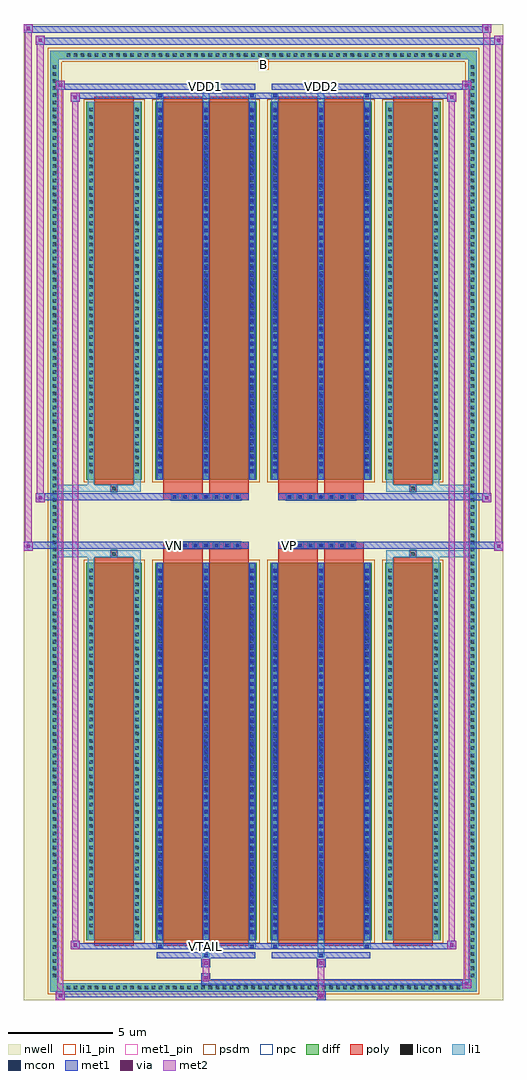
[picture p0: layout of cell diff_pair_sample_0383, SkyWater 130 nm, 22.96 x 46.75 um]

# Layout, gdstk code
import gdstk
lib = gdstk.Library(unit=1e-6, precision=5e-09)
def R(c, l, rs):  # rectangles x0, y0, x1, y1
    for r in rs: c.add(gdstk.rectangle(r[:2], r[2:], *l))
def A(c, l, x, y, w, h, nx, ny, dx, dy):  # array of equal rectangles
    R(c, l, [(x+i*dx, y+j*dy, x+i*dx+w, y+j*dy+h) for i in range(nx) for j in range(ny)])
def P(c, l, *ps):  # polygons
    for p in ps: c.add(gdstk.Polygon(p, *l))
nwell = (64, 20)
diff = (65, 20)
poly = (66, 20)
licon = (66, 44)
li1_pin = (67, 16)
li1 = (67, 20)
mcon = (67, 44)
met1_pin = (68, 16)
met1 = (68, 20)
via = (68, 44)
met2 = (69, 20)
psdm = (94, 20)
npc = (95, 20)

diff_pair_sample_0383 = lib.new_cell('diff_pair_sample_0383')
R(diff_pair_sample_0383, nwell, [(-11.48,-22.94,11.48,23.81), (-8.8,-21.13,-0.01,-0.795), (0.01,-21.13,8.8,-0.795), (-8.8,0.795,-0.01,21.13), (0.01,0.795,8.8,21.13)])
A(diff_pair_sample_0383, diff, -9.555, -22.54, 0.41, 0.41, 56, 2, 0.34, 44.67)
A(diff_pair_sample_0383, diff, -10.21, -21.965, 0.41, 0.41, 1, 129, 0, 0.34)
A(diff_pair_sample_0383, diff, 9.8, -21.965, 0.41, 0.41, 1, 129, 0, 0.34)
R(diff_pair_sample_0383, diff, [(-9.555,-22.54,9.555,-22.13), (-10.21,-21.965,-9.8,21.965), (9.8,-21.965,10.21,21.965), (-8.49,-20.085,-5.83,-1.985), (-5.19,-20.085,-0.32,-1.985), (0.32,-20.085,5.19,-1.985), (5.83,-20.085,8.49,-1.985), (-8.49,1.985,-5.83,20.085), (-5.19,1.985,-0.32,20.085), (0.32,1.985,5.19,20.085), (5.83,1.985,8.49,20.085), (-9.555,22.13,9.555,22.54)])
P(diff_pair_sample_0383, diff, [(10.21,22.54),(-10.21,22.54),(-10.21,-22.13),(-9.8,-22.13),(-9.8,22.13),(9.8,22.13),(9.8,-22.13),(-9.8,-22.13),(-10.21,-22.13),(-10.21,-22.54),(10.21,-22.54)])
A(diff_pair_sample_0383, poly, -4.42, -1.325, 0.33, 0.33, 7, 2, 0.5, 2.32)
A(diff_pair_sample_0383, poly, 1.09, -1.325, 0.33, 0.33, 7, 2, 0.5, 2.32)
R(diff_pair_sample_0383, poly, [(-8.1,-20.335,-6.22,-1.735), (-4.8,-20.335,-2.92,-1.735), (-2.59,-20.335,-0.71,-1.735), (0.71,-20.335,2.59,-1.735), (2.92,-20.335,4.8,-1.735), (6.22,-20.335,8.1,-1.735), (-7.325,-1.735,-6.995,-1.405), (-7.325,-1.735,-6.995,-1.405), (-4.8,-1.735,-2.92,-1.325), (-2.59,-1.735,-0.71,-1.325), (0.71,-1.735,2.59,-1.325), (2.92,-1.735,4.8,-1.325), (6.995,-1.735,7.325,-1.405), (6.995,-1.735,7.325,-1.405), (-4.8,-1.325,-0.71,-0.995), (0.71,-1.325,4.8,-0.995), (-4.8,0.995,-0.71,1.325), (0.71,0.995,4.8,1.325), (-4.8,1.325,-2.92,1.735), (-2.59,1.325,-0.71,1.735), (0.71,1.325,2.59,1.735), (2.92,1.325,4.8,1.735), (-7.325,1.405,-6.995,1.735), (-7.325,1.405,-6.995,1.735), (6.995,1.405,7.325,1.735), (6.995,1.405,7.325,1.735), (-8.1,1.735,-6.22,20.335), (-4.8,1.735,-2.92,20.335), (-2.59,1.735,-0.71,20.335), (0.71,1.735,2.59,20.335), (2.92,1.735,4.8,20.335), (6.22,1.735,8.1,20.335)])
A(diff_pair_sample_0383, licon, -9.435, -22.42, 0.17, 0.17, 56, 2, 0.34, 44.67)
A(diff_pair_sample_0383, licon, -10.09, -21.845, 0.17, 0.17, 1, 129, 0, 0.34)
A(diff_pair_sample_0383, licon, 9.92, -21.845, 0.17, 0.17, 1, 129, 0, 0.34)
A(diff_pair_sample_0383, licon, -8.35, -19.79, 0.17, 0.17, 1, 52, 0, 0.34)
A(diff_pair_sample_0383, licon, -6.14, -19.79, 0.17, 0.17, 1, 52, 0, 0.34)
A(diff_pair_sample_0383, licon, -5.05, -19.79, 0.17, 0.17, 3, 52, 2.21, 0.34)
A(diff_pair_sample_0383, licon, 0.46, -19.79, 0.17, 0.17, 3, 52, 2.21, 0.34)
A(diff_pair_sample_0383, licon, 5.97, -19.79, 0.17, 0.17, 1, 52, 0, 0.34)
A(diff_pair_sample_0383, licon, 8.18, -19.79, 0.17, 0.17, 1, 52, 0, 0.34)
A(diff_pair_sample_0383, licon, -4.34, -1.245, 0.17, 0.17, 7, 2, 0.5, 2.32)
A(diff_pair_sample_0383, licon, 1.17, -1.245, 0.17, 0.17, 7, 2, 0.5, 2.32)
A(diff_pair_sample_0383, licon, -8.35, 2.28, 0.17, 0.17, 1, 52, 0, 0.34)
A(diff_pair_sample_0383, licon, -6.14, 2.28, 0.17, 0.17, 1, 52, 0, 0.34)
A(diff_pair_sample_0383, licon, -5.05, 2.28, 0.17, 0.17, 3, 52, 2.21, 0.34)
A(diff_pair_sample_0383, licon, 0.46, 2.28, 0.17, 0.17, 3, 52, 2.21, 0.34)
A(diff_pair_sample_0383, licon, 5.97, 2.28, 0.17, 0.17, 1, 52, 0, 0.34)
A(diff_pair_sample_0383, licon, 8.18, 2.28, 0.17, 0.17, 1, 52, 0, 0.34)
R(diff_pair_sample_0383, licon, [(-7.245,-1.655,-7.075,-1.485), (7.075,-1.655,7.245,-1.485), (-7.245,1.485,-7.075,1.655), (7.075,1.485,7.245,1.655)])
R(diff_pair_sample_0383, li1_pin, [(-0.25,21.63,0.25,22.13)])
A(diff_pair_sample_0383, li1, -9.515, -22.5, 0.33, 0.33, 56, 2, 0.34, 44.67)
A(diff_pair_sample_0383, li1, -10.17, -21.925, 0.33, 0.33, 1, 129, 0, 0.34)
A(diff_pair_sample_0383, li1, 9.84, -21.925, 0.33, 0.33, 1, 129, 0, 0.34)
A(diff_pair_sample_0383, li1, -5.13, -20.085, 0.33, 18.1, 3, 2, 2.21, 22.07)
A(diff_pair_sample_0383, li1, 0.38, -20.085, 0.33, 18.1, 3, 2, 2.21, 22.07)
A(diff_pair_sample_0383, li1, -8.43, -19.87, 0.33, 0.33, 1, 52, 0, 0.34)
A(diff_pair_sample_0383, li1, -6.22, -19.87, 0.33, 0.33, 1, 52, 0, 0.34)
A(diff_pair_sample_0383, li1, -5.13, -19.87, 0.33, 0.33, 3, 52, 2.21, 0.34)
A(diff_pair_sample_0383, li1, 0.38, -19.87, 0.33, 0.33, 3, 52, 2.21, 0.34)
A(diff_pair_sample_0383, li1, 5.89, -19.87, 0.33, 0.33, 1, 52, 0, 0.34)
A(diff_pair_sample_0383, li1, 8.1, -19.87, 0.33, 0.33, 1, 52, 0, 0.34)
A(diff_pair_sample_0383, li1, -5.05, -19.76, 0.17, 0.17, 3, 49, 2.21, 0.36)
A(diff_pair_sample_0383, li1, -5.05, -19.76, 0.17, 17.45, 3, 2, 2.21, 22.07)
A(diff_pair_sample_0383, li1, 0.46, -19.76, 0.17, 0.17, 3, 49, 2.21, 0.36)
A(diff_pair_sample_0383, li1, 0.46, -19.76, 0.17, 17.45, 3, 2, 2.21, 22.07)
A(diff_pair_sample_0383, li1, -4.42, -1.325, 0.33, 0.33, 7, 2, 0.5, 2.32)
A(diff_pair_sample_0383, li1, 1.09, -1.325, 0.33, 0.33, 7, 2, 0.5, 2.32)
A(diff_pair_sample_0383, li1, -8.43, 2.2, 0.33, 0.33, 1, 52, 0, 0.34)
A(diff_pair_sample_0383, li1, -6.22, 2.2, 0.33, 0.33, 1, 52, 0, 0.34)
A(diff_pair_sample_0383, li1, -5.13, 2.2, 0.33, 0.33, 3, 52, 2.21, 0.34)
A(diff_pair_sample_0383, li1, 0.38, 2.2, 0.33, 0.33, 3, 52, 2.21, 0.34)
A(diff_pair_sample_0383, li1, 5.89, 2.2, 0.33, 0.33, 1, 52, 0, 0.34)
A(diff_pair_sample_0383, li1, 8.1, 2.2, 0.33, 0.33, 1, 52, 0, 0.34)
A(diff_pair_sample_0383, li1, -5.05, 2.31, 0.17, 0.17, 3, 49, 2.21, 0.36)
A(diff_pair_sample_0383, li1, 0.46, 2.31, 0.17, 0.17, 3, 49, 2.21, 0.36)
R(diff_pair_sample_0383, li1, [(-10.21,-22.54,-9.8,-22.13), (-10.21,-22.54,-9.8,-22.13), (-9.8,-22.54,9.8,-22.13), (9.8,-22.54,10.21,-22.13), (9.8,-22.54,10.21,-22.13), (-10.21,-22.13,-9.8,22.13), (9.8,-22.13,10.21,22.13), (-2.92,-20.89,-2.59,-20.085), (-2.84,-20.89,-2.67,-20.72), (2.59,-20.89,2.92,-20.085), (2.67,-20.89,2.84,-20.72), (-5.13,-20.46,-4.8,-20.085), (-5.05,-20.46,-4.88,-20.29), (-0.71,-20.46,-0.38,-20.085), (-0.63,-20.46,-0.46,-20.29), (0.38,-20.46,0.71,-20.085), (0.46,-20.46,0.63,-20.29), (4.8,-20.46,5.13,-20.085), (4.88,-20.46,5.05,-20.29), (-8.43,-20.085,-8.1,-1.985), (-6.22,-20.085,-5.89,-1.985), (5.89,-20.085,6.22,-1.985), (8.1,-20.085,8.43,-1.985), (-8.43,-1.985,-8.1,-1.405), (-6.22,-1.985,-5.89,-1.405), (5.89,-1.985,6.22,-1.405), (8.1,-1.985,8.43,-1.405), (-10.21,-1.735,-7.325,-1.405), (-8.43,-1.735,-7.325,-1.405), (-7.325,-1.735,-6.995,-1.405), (-6.995,-1.735,-5.89,-1.405), (5.89,-1.735,6.995,-1.405), (6.995,-1.735,7.325,-1.405), (6.995,-1.735,10.21,-1.405), (7.325,-1.735,8.43,-1.405), (-10.21,1.405,-7.325,1.735), (-8.43,1.405,-7.325,1.735), (-8.43,1.405,-8.1,1.985), (-7.325,1.405,-6.995,1.735), (-6.995,1.405,-5.89,1.735), (-6.22,1.405,-5.89,1.985), (5.89,1.405,6.995,1.735), (5.89,1.405,6.22,1.985), (6.995,1.405,7.325,1.735), (6.995,1.405,10.21,1.735), (7.325,1.405,8.43,1.735), (8.1,1.405,8.43,1.985), (-8.43,1.985,-8.1,20.085), (-6.22,1.985,-5.89,20.085), (5.89,1.985,6.22,20.085), (8.1,1.985,8.43,20.085), (-5.13,20.085,-4.8,20.46), (-2.92,20.085,-2.59,20.89), (-0.71,20.085,-0.38,20.46), (0.38,20.085,0.71,20.46), (2.59,20.085,2.92,20.89), (4.8,20.085,5.13,20.46), (-5.05,20.29,-4.88,20.46), (-0.63,20.29,-0.46,20.46), (0.46,20.29,0.63,20.46), (4.88,20.29,5.05,20.46), (-2.84,20.72,-2.67,20.89), (2.67,20.72,2.84,20.89), (-10.21,22.13,-9.8,22.54), (-10.21,22.13,-9.8,22.54), (-9.8,22.13,9.8,22.54), (9.8,22.13,10.21,22.54), (9.8,22.13,10.21,22.54)])
A(diff_pair_sample_0383, mcon, -5.05, -19.76, 0.17, 0.17, 3, 49, 2.21, 0.36)
A(diff_pair_sample_0383, mcon, 0.46, -19.76, 0.17, 0.17, 3, 49, 2.21, 0.36)
A(diff_pair_sample_0383, mcon, -4.34, -1.245, 0.17, 0.17, 7, 2, 0.5, 2.32)
A(diff_pair_sample_0383, mcon, 1.17, -1.245, 0.17, 0.17, 7, 2, 0.5, 2.32)
A(diff_pair_sample_0383, mcon, -5.05, 2.31, 0.17, 0.17, 3, 49, 2.21, 0.36)
A(diff_pair_sample_0383, mcon, 0.46, 2.31, 0.17, 0.17, 3, 49, 2.21, 0.36)
R(diff_pair_sample_0383, mcon, [(-2.84,-20.89,-2.67,-20.72), (2.67,-20.89,2.84,-20.72), (-5.05,-20.46,-4.88,-20.29), (-0.63,-20.46,-0.46,-20.29), (0.46,-20.46,0.63,-20.29), (4.88,-20.46,5.05,-20.29), (-5.05,20.29,-4.88,20.46), (-0.63,20.29,-0.46,20.46), (0.46,20.29,0.63,20.46), (4.88,20.29,5.05,20.46), (-2.84,20.72,-2.67,20.89), (2.67,20.72,2.84,20.89)])
R(diff_pair_sample_0383, met1_pin, [(-2.89,-20.5,-2.62,-20.23), (-4.39,-1.285,-4.12,-1.015), (1.12,-1.285,1.39,-1.015), (-2.89,20.68,-2.62,20.95), (2.62,20.68,2.89,20.95)])
A(diff_pair_sample_0383, met1, -5.11, -20.085, 0.29, 18.1, 3, 2, 2.21, 22.07)
A(diff_pair_sample_0383, met1, 0.4, -20.085, 0.29, 18.1, 3, 2, 2.21, 22.07)
A(diff_pair_sample_0383, met1, -5.11, -19.82, 0.29, 0.29, 3, 49, 2.21, 0.36)
A(diff_pair_sample_0383, met1, 0.4, -19.82, 0.29, 0.29, 3, 49, 2.21, 0.36)
A(diff_pair_sample_0383, met1, -4.4, -1.305, 0.29, 0.29, 7, 2, 0.5, 2.32)
A(diff_pair_sample_0383, met1, 1.11, -1.305, 0.29, 0.29, 7, 2, 0.5, 2.32)
A(diff_pair_sample_0383, met1, -5.11, 2.25, 0.29, 0.29, 3, 49, 2.21, 0.36)
A(diff_pair_sample_0383, met1, 0.4, 2.25, 0.29, 0.29, 3, 49, 2.21, 0.36)
R(diff_pair_sample_0383, met1, [(-9.94,-22.94,-9.51,-22.51), (2.54,-22.94,2.97,-22.51), (-9.94,-22.8,2.97,-22.51), (9.51,-22.37,9.94,-21.94), (-2.97,-22.23,9.94,-21.94), (-2.97,-22.09,-2.54,-21.66), (-2.97,-21.38,-2.54,-20.95), (2.54,-21.38,2.97,-20.95), (-5.11,-20.95,-0.4,-20.66), (-2.9,-20.95,-2.61,-20.66), (0.4,-20.95,5.11,-20.66), (2.61,-20.95,2.9,-20.66), (-9.23,-20.52,-8.8,-20.09), (-9.23,-20.52,-5.11,-20.23), (-5.11,-20.52,-4.82,-20.23), (-5.11,-20.52,-0.4,-20.23), (-0.69,-20.52,-0.4,-20.23), (-0.4,-20.52,0.4,-20.23), (0.4,-20.52,0.69,-20.23), (0.4,-20.52,5.11,-20.23), (4.82,-20.52,5.11,-20.23), (5.11,-20.52,9.23,-20.23), (8.8,-20.52,9.23,-20.09), (-11.48,-1.425,-11.05,-0.995), (11.05,-1.425,11.48,-0.995), (-11.48,-1.325,-0.71,-0.995), (-4.8,-1.325,-0.71,-0.995), (0.71,-1.325,4.8,-0.995), (0.71,-1.325,11.48,-0.995), (-10.91,0.895,-10.48,1.325), (10.48,0.895,10.91,1.325), (-10.91,0.995,-4.8,1.325), (-4.8,0.995,-0.71,1.325), (0.71,0.995,4.8,1.325), (4.8,0.995,10.91,1.325), (-9.23,20.09,-8.8,20.52), (8.8,20.09,9.23,20.52), (-9.23,20.23,-5.11,20.52), (-5.11,20.23,-4.82,20.52), (-5.11,20.23,-0.4,20.52), (-0.69,20.23,-0.4,20.52), (-0.4,20.23,0.4,20.52), (0.4,20.23,0.69,20.52), (0.4,20.23,5.11,20.52), (4.82,20.23,5.11,20.52), (5.11,20.23,9.23,20.52), (-9.94,20.66,-9.51,21.09), (-9.94,20.66,-5.11,20.95), (-5.11,20.66,-0.4,20.95), (-2.9,20.66,-2.61,20.95), (0.4,20.66,5.11,20.95), (2.61,20.66,2.9,20.95), (5.11,20.66,9.94,20.95), (9.51,20.66,9.94,21.09), (-10.91,22.81,-10.48,23.24), (-10.91,22.81,-8.8,23.14), (-8.8,22.81,8.8,23.14), (8.8,22.81,11.48,23.14), (11.05,22.81,11.48,23.24), (-11.48,23.38,-11.05,23.81), (-11.48,23.38,-8.8,23.71), (-8.8,23.38,8.8,23.71), (8.8,23.38,10.91,23.71), (10.48,23.38,10.91,23.81)])
R(diff_pair_sample_0383, via, [(-9.8,-22.8,-9.65,-22.65), (2.68,-22.8,2.83,-22.65), (9.65,-22.23,9.8,-22.08), (-2.83,-21.95,-2.68,-21.8), (-2.83,-21.24,-2.68,-21.09), (2.68,-21.24,2.83,-21.09), (-9.09,-20.38,-8.94,-20.23), (8.94,-20.38,9.09,-20.23), (-11.34,-1.285,-11.19,-1.135), (11.19,-1.285,11.34,-1.135), (-10.77,1.035,-10.62,1.185), (10.62,1.035,10.77,1.185), (-9.09,20.23,-8.94,20.38), (8.94,20.23,9.09,20.38), (-9.8,20.8,-9.65,20.95), (9.65,20.8,9.8,20.95), (-10.77,22.95,-10.62,23.1), (11.19,22.95,11.34,23.1), (-11.34,23.52,-11.19,23.67), (10.62,23.52,10.77,23.67)])
R(diff_pair_sample_0383, met2, [(-9.94,-22.94,-9.51,-22.51), (-9.87,-22.94,-9.58,21.09), (-9.58,-22.94,-9.51,-22.51), (-9.89,-22.89,-9.56,-22.56), (2.59,-22.89,2.92,-22.56), (2.59,-22.56,2.92,-21.33), (9.51,-22.37,9.94,-21.94), (9.58,-22.37,9.87,21.09), (9.87,-22.37,9.94,-21.94), (9.56,-22.32,9.89,-21.99), (-2.92,-22.04,-2.59,-21.71), (-2.92,-21.71,-2.59,-21.33), (-2.92,-21.33,-2.59,-21), (2.59,-21.33,2.92,-21), (-9.23,-20.52,-8.8,-20.09), (-9.16,-20.52,-8.87,20.52), (-8.87,-20.52,-8.8,-20.09), (8.8,-20.52,9.23,-20.09), (8.87,-20.52,9.16,20.52), (9.16,-20.52,9.23,-20.09), (-9.18,-20.47,-8.85,-20.14), (8.85,-20.47,9.18,-20.14), (-11.48,-1.425,-11.05,-0.995), (-11.43,-1.425,-11.1,23.81), (-11.1,-1.425,-11.05,-0.995), (11.05,-1.425,11.48,-0.995), (11.1,-1.425,11.43,23.24), (11.43,-1.425,11.48,-0.995), (-11.43,-1.375,-11.1,-1.045), (11.1,-1.375,11.43,-1.045), (-10.91,0.895,-10.48,1.325), (-10.86,0.895,-10.53,23.24), (-10.53,0.895,-10.48,1.325), (10.48,0.895,10.91,1.325), (10.53,0.895,10.86,23.81), (10.86,0.895,10.91,1.325), (-10.86,0.945,-10.53,1.275), (10.53,0.945,10.86,1.275), (-9.23,20.09,-8.8,20.52), (-8.87,20.09,-8.8,20.52), (8.8,20.09,9.23,20.52), (9.16,20.09,9.23,20.52), (-9.18,20.14,-8.85,20.47), (8.85,20.14,9.18,20.47), (-9.94,20.66,-9.51,21.09), (-9.58,20.66,-9.51,21.09), (9.51,20.66,9.94,21.09), (9.87,20.66,9.94,21.09), (-9.89,20.71,-9.56,21.04), (9.56,20.71,9.89,21.04), (-10.91,22.81,-10.48,23.24), (-10.53,22.81,-10.48,23.24), (11.05,22.81,11.48,23.24), (11.43,22.81,11.48,23.24), (-10.86,22.86,-10.53,23.19), (11.1,22.86,11.43,23.19), (-11.48,23.38,-11.05,23.81), (-11.1,23.38,-11.05,23.81), (10.48,23.38,10.91,23.81), (10.86,23.38,10.91,23.81), (-11.43,23.43,-11.1,23.76), (10.53,23.43,10.86,23.76)])
R(diff_pair_sample_0383, psdm, [(-8.62,-20.215,-5.7,-1.855), (-5.32,-20.215,-0.19,-1.855), (0.19,-20.215,5.32,-1.855), (5.7,-20.215,8.62,-1.855), (-8.62,1.855,-5.7,20.215), (-5.32,1.855,-0.19,20.215), (0.19,1.855,5.32,20.215), (5.7,1.855,8.62,20.215)])
P(diff_pair_sample_0383, psdm, [(10.34,22.67),(-10.34,22.67),(-10.34,-22),(-9.67,-22),(-9.67,22),(9.67,22),(9.67,-22),(-9.67,-22),(-10.34,-22),(-10.34,-22.67),(10.34,-22.67)])
A(diff_pair_sample_0383, npc, -4.44, -1.345, 0.37, 0.37, 7, 2, 0.5, 2.32)
A(diff_pair_sample_0383, npc, 1.07, -1.345, 0.37, 0.37, 7, 2, 0.5, 2.32)
R(diff_pair_sample_0383, npc, [(-7.345,-1.755,-6.975,-1.385), (6.975,-1.755,7.345,-1.385), (-4.44,-1.345,-3.57,-0.975), (-4.44,-1.345,-3.57,-0.975), (-3.94,-1.345,-3.07,-0.975), (-3.94,-1.345,-3.07,-0.975), (-3.44,-1.345,-2.57,-0.975), (-3.44,-1.345,-2.57,-0.975), (-2.94,-1.345,-2.07,-0.975), (-2.94,-1.345,-2.07,-0.975), (-2.44,-1.345,-1.57,-0.975), (-2.44,-1.345,-1.57,-0.975), (-1.94,-1.345,-1.07,-0.975), (-1.94,-1.345,-1.07,-0.975), (1.07,-1.345,1.94,-0.975), (1.07,-1.345,1.94,-0.975), (1.57,-1.345,2.44,-0.975), (1.57,-1.345,2.44,-0.975), (2.07,-1.345,2.94,-0.975), (2.07,-1.345,2.94,-0.975), (2.57,-1.345,3.44,-0.975), (2.57,-1.345,3.44,-0.975), (3.07,-1.345,3.94,-0.975), (3.07,-1.345,3.94,-0.975), (3.57,-1.345,4.44,-0.975), (3.57,-1.345,4.44,-0.975), (-4.44,0.975,-3.57,1.345), (-4.44,0.975,-3.57,1.345), (-3.94,0.975,-3.07,1.345), (-3.94,0.975,-3.07,1.345), (-3.44,0.975,-2.57,1.345), (-3.44,0.975,-2.57,1.345), (-2.94,0.975,-2.07,1.345), (-2.94,0.975,-2.07,1.345), (-2.44,0.975,-1.57,1.345), (-2.44,0.975,-1.57,1.345), (-1.94,0.975,-1.07,1.345), (-1.94,0.975,-1.07,1.345), (1.07,0.975,1.94,1.345), (1.07,0.975,1.94,1.345), (1.57,0.975,2.44,1.345), (1.57,0.975,2.44,1.345), (2.07,0.975,2.94,1.345), (2.07,0.975,2.94,1.345), (2.57,0.975,3.44,1.345), (2.57,0.975,3.44,1.345), (3.07,0.975,3.94,1.345), (3.07,0.975,3.94,1.345), (3.57,0.975,4.44,1.345), (3.57,0.975,4.44,1.345), (-7.345,1.385,-6.975,1.755), (6.975,1.385,7.345,1.755)])
diff_pair_sample_0383.add(gdstk.Label('VTAIL', (-2.755,-20.365), layer=68, texttype=5))
diff_pair_sample_0383.add(gdstk.Label('VN', (-4.255,-1.15), layer=68, texttype=5))
diff_pair_sample_0383.add(gdstk.Label('VP', (1.255,-1.15), layer=68, texttype=5))
diff_pair_sample_0383.add(gdstk.Label('B', (0,21.88), layer=67, texttype=5))
diff_pair_sample_0383.add(gdstk.Label('VDD2', (2.755,20.815), layer=68, texttype=5))
diff_pair_sample_0383.add(gdstk.Label('VDD1', (-2.755,20.815), layer=68, texttype=5))

lib.write_gds('diff_pair_sample_0383.gds')
